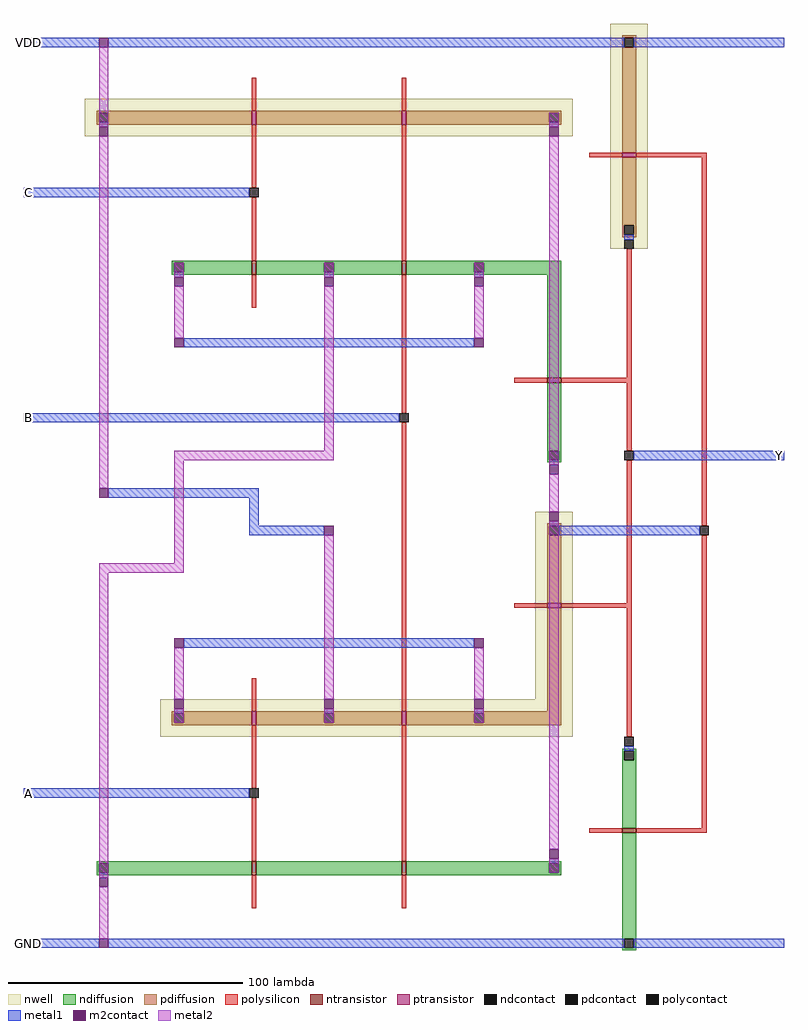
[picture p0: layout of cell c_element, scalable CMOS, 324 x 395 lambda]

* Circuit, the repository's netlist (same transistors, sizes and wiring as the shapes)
* Schematic of c_element (C-element), 12 transistors.
* Written from the layout's extracted netlist, so the transistors are in the layout's
* order with its sizes; the internal nets have plain names, and, as in any schematic,
* every p-transistor's body is tied to VDD and every n-transistor's to GND.
.subckt c_element VDD GND A B C Y
M1 n1 B n2 GND nfet w=6u l=2u
M2 n3 B GND GND nfet w=6u l=2u
M3 Y n1 GND GND nfet w=6u l=2u
M4 VDD n1 Y VDD pfet w=6u l=2u
M5 n1 Y n4 VDD pfet w=6u l=2u
M6 n2 A GND GND nfet w=6u l=2u
M7 n3 Y n1 GND nfet w=6u l=2u
M8 VDD A n4 VDD pfet w=6u l=2u
M9 n4 B VDD VDD pfet w=6u l=2u
M10 n5 C VDD VDD pfet w=6u l=2u
M11 n1 B n5 VDD pfet w=6u l=2u
M12 GND C n3 GND nfet w=6u l=2u
.ends

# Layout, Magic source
magic
tech scmos
<< nwell >>
rect 48 368 256 384
rect 272 320 288 416
rect 240 128 256 208
rect 80 112 256 128
<< polysilicon >>
rect 119 379 121 393
rect 183 379 185 393
rect 263 359 277 361
rect 283 359 313 361
rect 119 346 121 373
rect 119 315 121 342
rect 183 315 185 373
rect 119 295 121 309
rect 279 265 281 320
rect 231 263 245 265
rect 251 263 281 265
rect 183 250 185 309
rect 279 234 281 263
rect 311 202 313 359
rect 279 169 281 230
rect 231 167 245 169
rect 251 167 281 169
rect 119 123 121 137
rect 183 123 185 246
rect 279 112 281 167
rect 119 90 121 117
rect 311 73 313 198
rect 263 71 277 73
rect 283 71 313 73
rect 119 59 121 86
rect 183 59 185 117
rect 119 39 121 53
rect 183 39 185 53
<< ndiffusion >>
rect 85 314 119 315
rect 121 314 183 315
rect 185 314 251 315
rect 85 310 86 314
rect 90 310 119 314
rect 121 310 150 314
rect 154 310 183 314
rect 185 310 214 314
rect 218 310 251 314
rect 85 309 119 310
rect 121 309 183 310
rect 185 309 251 310
rect 245 265 251 309
rect 245 234 251 263
rect 245 230 246 234
rect 250 230 251 234
rect 245 229 251 230
rect 277 106 283 107
rect 277 102 278 106
rect 282 102 283 106
rect 277 73 283 102
rect 53 58 119 59
rect 185 58 251 59
rect 53 54 54 58
rect 58 54 119 58
rect 185 54 246 58
rect 250 54 251 58
rect 53 53 119 54
rect 121 53 183 59
rect 185 53 251 54
rect 277 26 283 71
rect 277 22 278 26
rect 282 22 283 26
rect 277 21 283 22
<< pdiffusion >>
rect 277 410 283 411
rect 277 406 278 410
rect 282 406 283 410
rect 53 378 119 379
rect 185 378 251 379
rect 53 374 54 378
rect 58 374 119 378
rect 185 374 246 378
rect 250 374 251 378
rect 53 373 119 374
rect 121 373 183 379
rect 185 373 251 374
rect 277 361 283 406
rect 277 330 283 359
rect 277 326 278 330
rect 282 326 283 330
rect 277 325 283 326
rect 245 202 251 203
rect 245 198 246 202
rect 250 198 251 202
rect 245 169 251 198
rect 245 123 251 167
rect 85 122 119 123
rect 121 122 183 123
rect 185 122 251 123
rect 85 118 86 122
rect 90 118 119 122
rect 121 118 150 122
rect 154 118 183 122
rect 185 118 214 122
rect 218 118 251 122
rect 85 117 119 118
rect 121 117 183 118
rect 185 117 251 118
<< ntransistor >>
rect 119 309 121 315
rect 183 309 185 315
rect 245 263 251 265
rect 277 71 283 73
rect 119 53 121 59
rect 183 53 185 59
<< ptransistor >>
rect 119 373 121 379
rect 183 373 185 379
rect 277 359 283 361
rect 245 167 251 169
rect 119 117 121 123
rect 183 117 185 123
<< ndcontact >>
rect 86 310 90 314
rect 150 310 154 314
rect 214 310 218 314
rect 246 230 250 234
rect 278 102 282 106
rect 54 54 58 58
rect 246 54 250 58
rect 278 22 282 26
<< pdcontact >>
rect 278 406 282 410
rect 54 374 58 378
rect 246 374 250 378
rect 278 326 282 330
rect 246 198 250 202
rect 86 118 90 122
rect 150 118 154 122
rect 214 118 218 122
<< polycontact >>
rect 118 342 122 346
rect 278 320 282 324
rect 182 246 186 250
rect 278 230 282 234
rect 310 198 314 202
rect 278 108 282 112
rect 118 86 122 90
<< metal1 >>
rect 22 406 54 410
rect 58 406 278 410
rect 282 406 346 410
rect 54 372 58 374
rect 246 372 250 374
rect 22 342 118 346
rect 278 324 282 326
rect 86 308 90 310
rect 150 308 154 310
rect 214 308 218 310
rect 90 278 214 282
rect 22 246 182 250
rect 282 230 346 234
rect 246 228 250 230
rect 58 214 122 218
rect 118 202 122 214
rect 246 202 250 204
rect 118 198 150 202
rect 250 198 310 202
rect 90 150 214 154
rect 86 122 90 124
rect 150 122 154 124
rect 214 122 218 124
rect 278 106 282 108
rect 22 86 118 90
rect 246 58 250 60
rect 54 52 58 54
rect 22 22 54 26
rect 58 22 278 26
rect 282 22 346 26
<< m2contact >>
rect 54 406 58 410
rect 54 368 58 372
rect 246 368 250 372
rect 86 304 90 308
rect 150 304 154 308
rect 214 304 218 308
rect 86 278 90 282
rect 214 278 218 282
rect 246 224 250 228
rect 54 214 58 218
rect 246 204 250 208
rect 150 198 154 202
rect 86 150 90 154
rect 214 150 218 154
rect 86 124 90 128
rect 150 124 154 128
rect 214 124 218 128
rect 246 60 250 64
rect 54 48 58 52
rect 54 22 58 26
<< metal2 >>
rect 54 372 58 406
rect 246 372 250 378
rect 86 308 90 314
rect 150 308 154 314
rect 214 308 218 314
rect 86 282 90 304
rect 214 282 218 304
rect 150 234 154 304
rect 86 230 154 234
rect 246 228 250 368
rect 54 218 58 368
rect 246 208 250 224
rect 86 186 90 230
rect 54 182 90 186
rect 86 128 90 150
rect 150 128 154 198
rect 214 128 218 150
rect 86 118 90 124
rect 150 118 154 124
rect 214 118 218 124
rect 246 64 250 204
rect 246 54 250 60
rect 54 52 58 182
rect 54 26 58 48
<< labels >>
rlabel metal1 22 406 26 410 0 VDD
rlabel metal1 22 22 26 26 0 GND
rlabel metal1 22 86 26 90 0 A
rlabel metal1 22 246 26 250 0 B
rlabel metal1 22 342 26 346 0 C
rlabel metal1 342 230 346 234 0 Y
<< end >>
